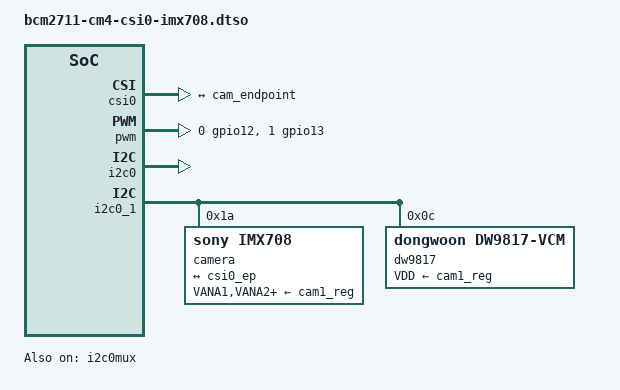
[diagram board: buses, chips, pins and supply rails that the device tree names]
// SPDX-License-Identifier: GPL-2.0-only
// Definitions for IMX219 camera module on VC I2C bus

/dts-v1/;
/plugin/;

&{/} {
	cam1_clk: cam1_clk {
		compatible = "fixed-clock";
		#clock-cells = <0>;
		clock-frequency = <24000000>;
	};
};

&csi0 {
	status = "okay";

	port {
		csi0_ep: endpoint {
			remote-endpoint = <&cam_endpoint>;
			clock-lanes = <0>;
			data-lanes = <1 2>;
			clock-noncontinuous;
		};
	};
};

&pwm {
	pinctrl-names = "default";
	pinctrl-0 = <&pwm0_0_gpio12 &pwm0_1_gpio13>;
	status = "okay";
};

&i2c0 {
	status = "okay";
};

&i2c0_1 {
	#address-cells = <1>;
	#size-cells = <0>;
	status = "okay";

	camera@1a {
		compatible = "sony,imx708";
		reg = <0x1a>;

		clocks = <&cam1_clk>;
		clock-names = "inclk";

		VANA1-supply = <&cam1_reg>;	/* 1.8v */
		VANA2-supply = <&cam1_reg>;	/* 2.8v */
		VDIG-supply = <&cam1_reg>;	/* 1.1v */
		VDDL-supply = <&cam1_reg>;	/* 1.8v */

		rotation = <180>;
		orientation = <2>;

		port {
			cam_endpoint: endpoint {
				remote-endpoint = <&csi0_ep>;
				clock-lanes = <0>;
				data-lanes = <1 2>;
				clock-noncontinuous;
				link-frequencies = /bits/ 64 <450000000>;
			};
		};
	};

	dw9817@c {
		compatible = "dongwoon,dw9817-vcm";
		reg = <0x0c>;
		status = "okay";
		VDD-supply = <&cam1_reg>;
	};
};

&i2c0mux {
	status = "okay";
};
